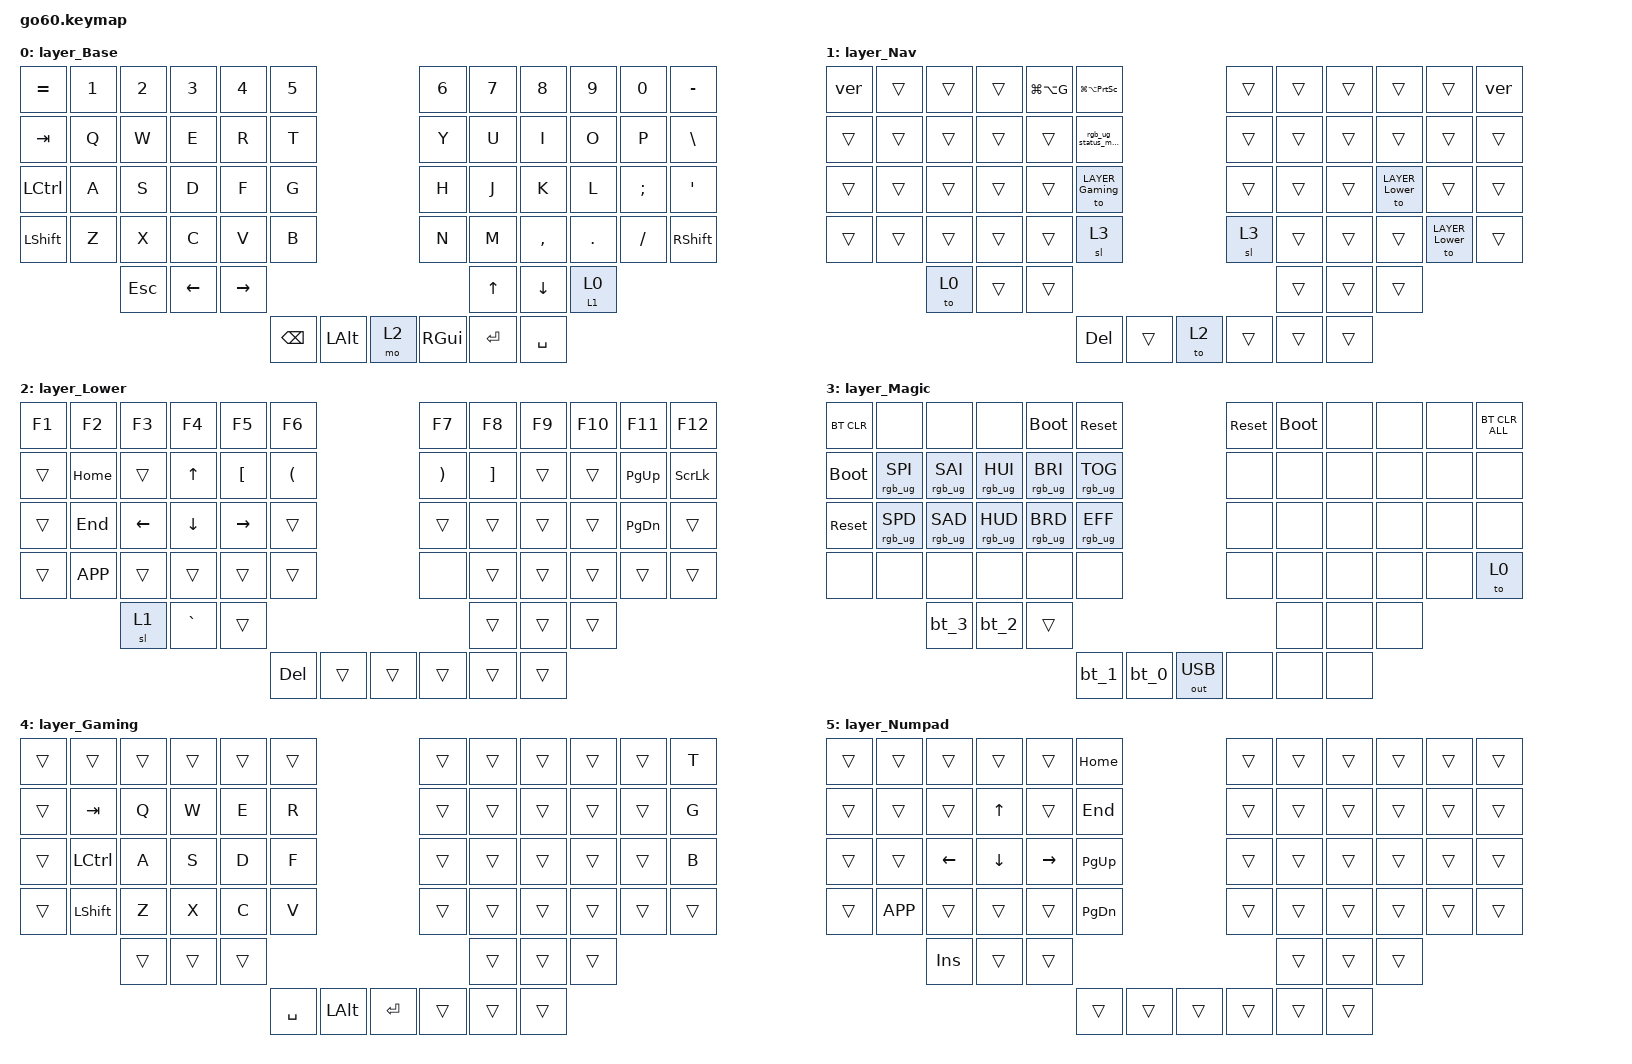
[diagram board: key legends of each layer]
#pragma once
/*
 * Copyright (c) 2020 The ZMK Contributors
 * Copyright (c) 2025 Innaworks Development Limited, trading as MoErgo
 *
 * SPDX-License-Identifier: MIT
 */


/* THIS FILE WAS GENERATED BY GO60 LAYOUT EDITOR
 *
 * This file was generated automatically. You may or may not want to
 * edit it directly.
 */

#include <behaviors.dtsi>

/* Include all behavior includes needed */

#include <dt-bindings/zmk/outputs.h>
#include <dt-bindings/zmk/keys.h>
#include <dt-bindings/zmk/bt.h>
#include <dt-bindings/zmk/rgb.h>

#include <input/processors.dtsi>
#include <dt-bindings/zmk/input_transform.h>
#include <zephyr/dt-bindings/input/input-event-codes.h>

/* On demand includes */
#include <dt-bindings/zmk/input_transform.h>
#include <dt-bindings/zmk/pointing.h>
#include <input/processors.dtsi>

#define YEAR_KEYS(y1, y2) &kp N2 &kp N0 &kp N##y1 &kp N##y2
#define MON_KEYS(m1, m2, m3) &kp m1 &kp m2 &kp m3
#define VER_KEYS(n1, n2) &kp N##n1 &kp N##n2

#define MYEAR YEAR_KEYS(2,6)
#define MMON MON_KEYS(F,E,B)
#define MVER VER_KEYS(0,5)

/* On demand includes */

/* Automatically generated layer name defines */
#define LAYER_Base 0
#define LAYER_Nav 1
#define LAYER_Lower 2
#define LAYER_Magic 3
#define LAYER_Gaming 4
#define LAYER_Numpad 5
#define LAYER_Dual 6

/* To deal with the situation where there is no Lower layer, to keep &lower happy */
#ifndef LAYER_Lower
#define LAYER_Lower 0
#endif

/* Generated input processors */
/ {
    input_processors {
        zip_click_to_right_click_mapper: zip_click_to_right_click_mapper {
            compatible = "zmk,input-processor-code-mapper";
            #input-processor-cells = <0>;
            type = <INPUT_EV_KEY>;
            map = <INPUT_BTN_0 INPUT_BTN_1>;
        };
    };
};

/* Custom Device-tree */


/* Input Listeners */
&cirque_lh_listener {
    input-processors = <&zip_xy_to_scroll_mapper>, <&zip_click_to_right_click_mapper>, <&zip_scroll_scaler 1 8>;
};

&cirque_rh_listener {
    input-processors = <&zip_xy_scaler 3 1>;
};


/* System behavior and macros */
/ {
    behaviors {
        // For the "layer" key, it'd nice to be able to use it as either a shift or a toggle.
        // Configure it as a tap dance, so the first tap (or hold) is a &mo and the second tap is a &to
        lower: lower {
            compatible = "zmk,behavior-tap-dance";
            label = "LAYER_TAP_DANCE";
            #binding-cells = <0>;
            tapping-term-ms = <200>;
            bindings = <&mo LAYER_Lower>, <&to LAYER_Lower>;
        };
    };
};

/ {
    macros {
        rgb_ug_status_macro: rgb_ug_status_macro {
            label = "RGB_UG_STATUS";
            compatible = "zmk,behavior-macro";
            #binding-cells = <0>;
            bindings
                = <&rgb_ug RGB_STATUS>;
        };
        gb_screenshot_macro: gb_screenshot_macro {
            label = "GAMEBAR_SCREENSHOT";
            compatible = "zmk,behavior-macro";
            #binding-cells = <0>;
            bindings
                = <&macro_press &kp LGUI &kp LALT>
                , <&macro_tap &kp PRINTSCREEN>
                , <&macro_release &kp LGUI &kp LALT>
                ;
        };
        gb_clipm_macro: gb_clip_macro {
            label = "GAMEBAR_SCREENSHOT";
            compatible = "zmk,behavior-macro";
            #binding-cells = <0>;
            bindings
                = <&macro_press &kp LGUI &kp LALT>
                , <&macro_tap &kp G>
                , <&macro_release &kp LGUI &kp LALT>
                ;
        };
    };
};

#define rgbstat &rgb_ug_status_macro
#define gb_clip &kp LG(LA(G))
#define gb_screenshot &kp LG(LA(PRINTSCREEN))


/ {
#ifdef BT_DISC_CMD
    behaviors {
        bt_0: bt_0 {
            compatible = "zmk,behavior-tap-dance";
            label = "BT_0";
            #binding-cells = <0>;
            tapping-term-ms = <200>;
            bindings = <&bt_select_0>, <&bt BT_DISC 0>;
        };
        bt_1: bt_1 {
            compatible = "zmk,behavior-tap-dance";
            label = "BT_1";
            #binding-cells = <0>;
            tapping-term-ms = <200>;
            bindings = <&bt_select_1>, <&bt BT_DISC 1>;
        };
        bt_2: bt_2 {
            compatible = "zmk,behavior-tap-dance";
            label = "BT_2";
            #binding-cells = <0>;
            tapping-term-ms = <200>;
            bindings = <&bt_select_2>, <&bt BT_DISC 2>;
        };
        bt_3: bt_3 {
            compatible = "zmk,behavior-tap-dance";
            label = "BT_3";
            #binding-cells = <0>;
            tapping-term-ms = <200>;
            bindings = <&bt_select_3>, <&bt BT_DISC 3>;
        };
    };
    macros {
        bt_select_0: bt_select_0 {
            label = "BT_SELECT_0";
            compatible = "zmk,behavior-macro";
            #binding-cells = <0>;
            bindings
                = <&out OUT_BLE>,
                  <&bt BT_SEL 0>;
        };
        bt_select_1: bt_select_1 {
            label = "BT_SELECT_1";
            compatible = "zmk,behavior-macro";
            #binding-cells = <0>;
            bindings
                = <&out OUT_BLE>,
                  <&bt BT_SEL 1>;
        };
        bt_select_2: bt_select_2 {
            label = "BT_SELECT_2";
            compatible = "zmk,behavior-macro";
            #binding-cells = <0>;
            bindings
                = <&out OUT_BLE>,
                  <&bt BT_SEL 2>;
        };
        bt_select_3: bt_select_3 {
            label = "BT_SELECT_3";
            compatible = "zmk,behavior-macro";
            #binding-cells = <0>;
            bindings
                = <&out OUT_BLE>,
                  <&bt BT_SEL 3>;
        };
    };
#else
    macros {
        bt_0: bt_0 {
            label = "BT_0";
            compatible = "zmk,behavior-macro";
            #binding-cells = <0>;
            bindings
                = <&out OUT_BLE>,
                  <&bt BT_SEL 0>;
        };
        bt_1: bt_1 {
            label = "BT_1";
            compatible = "zmk,behavior-macro";
            #binding-cells = <0>;
            bindings
                = <&out OUT_BLE>,
                  <&bt BT_SEL 1>;
        };
        bt_2: bt_2 {
            label = "BT_2";
            compatible = "zmk,behavior-macro";
            #binding-cells = <0>;
            bindings
                = <&out OUT_BLE>,
                  <&bt BT_SEL 2>;
        };
        bt_3: bt_3 {
            label = "BT_3";
            compatible = "zmk,behavior-macro";
            #binding-cells = <0>;
            bindings
                = <&out OUT_BLE>,
                  <&bt BT_SEL 3>;
        };
    };
#endif
};

/ {
    behaviors {
        magic: magic {
            compatible = "zmk,behavior-hold-tap";
            label = "MAGIC_HOLD_TAP";
            #binding-cells = <2>;
            flavor = "tap-preferred";
            tapping-term-ms = <200>;
            bindings = <&mo>, <&rgb_ug_status_macro>;
        };
    };
};

/* #define for key positions */
#define POS_LH_C6R1 0
#define POS_LH_C5R1 1
#define POS_LH_C4R1 2
#define POS_LH_C3R1 3
#define POS_LH_C2R1 4
#define POS_LH_C1R1 5
#define POS_RH_C1R1 6
#define POS_RH_C2R1 7
#define POS_RH_C3R1 8
#define POS_RH_C4R1 9
#define POS_RH_C5R1 10
#define POS_RH_C6R1 11
#define POS_LH_C6R2 12
#define POS_LH_C5R2 13
#define POS_LH_C4R2 14
#define POS_LH_C3R2 15
#define POS_LH_C2R2 16
#define POS_LH_C1R2 17
#define POS_RH_C1R2 18
#define POS_RH_C2R2 19
#define POS_RH_C3R2 20
#define POS_RH_C4R2 21
#define POS_RH_C5R2 22
#define POS_RH_C6R2 23
#define POS_LH_C6R3 24
#define POS_LH_C5R3 25
#define POS_LH_C4R3 26
#define POS_LH_C3R3 27
#define POS_LH_C2R3 28
#define POS_LH_C1R3 29
#define POS_RH_C1R3 30
#define POS_RH_C2R3 31
#define POS_RH_C3R3 32
#define POS_RH_C4R3 33
#define POS_RH_C5R3 34
#define POS_RH_C6R3 35
#define POS_LH_C6R4 36
#define POS_LH_C5R4 37
#define POS_LH_C4R4 38
#define POS_LH_C3R4 39
#define POS_LH_C2R4 40
#define POS_LH_C1R4 41
#define POS_RH_C1R4 42
#define POS_RH_C2R4 43
#define POS_RH_C3R4 44
#define POS_RH_C4R4 45
#define POS_RH_C5R4 46
#define POS_RH_C6R4 47
#define POS_LH_C4R5 48
#define POS_LH_C3R5 49
#define POS_LH_C2R5 50
#define POS_RH_C2R5 51
#define POS_RH_C3R5 52
#define POS_RH_C4R5 53
#define POS_LH_T1 54
#define POS_LH_T2 55
#define POS_LH_T3 56
#define POS_RH_T3 57
#define POS_RH_T2 58
#define POS_RH_T1 59

/* Custom Defined Behaviors */
/ {
    behaviors {
      nav: behavior_nav {
            compatible = "zmk,behavior-hold-tap";
            label = "NAV_HOLD_TAP";
            #binding-cells = <2>;
            flavor = "tap-preferred";
            tapping-term-ms = <200>;
            bindings = <&mo>, <&to>;
        };
      ver: behavior_version {
            compatible = "zmk,behavior-macro";
            #binding-cells = <0>;
            bindings = <&kp N &kp D &kp MINUS MYEAR &kp MINUS MMON &kp MINUS MVER>;
        };
    };
};

/* Automatically generated macro definitions */
/ {
    macros {

    };
};

/* Automatically generated behavior definitions */
/ {
    behaviors {


    };
};

/* Automatically generated combos definitions */


/* Automatically generated keymap */
/ {
    keymap {
        compatible = "zmk,keymap";


        layer_Base {
            bindings = <
 &kp EQUAL  &kp N1   &kp N2    &kp N3     &kp N4      &kp N5                                              &kp N6      &kp N7     &kp N8         &kp N9     &kp N0     &kp MINUS
 &kp TAB    &kp Q    &kp W     &kp E      &kp R       &kp T                                               &kp Y       &kp U      &kp I          &kp O      &kp P      &kp BSLH
 &kp LCTRL  &kp A    &kp S     &kp D      &kp F       &kp G                                               &kp H       &kp J      &kp K          &kp L      &kp SEMI   &kp SQT
 &kp LSHFT  &kp Z    &kp X     &kp C      &kp V       &kp B                                               &kp N       &kp M      &kp COMMA      &kp DOT    &kp FSLH   &kp RSHFT
                     &kp ESC   &kp LEFT   &kp RIGHT                                                                   &kp UP     &kp DOWN       &nav 1 0
                                                      &kp BSPC  &kp LALT  &mo 2        &kp RGUI  &kp RET  &kp SPACE
            >;
        };

        layer_Nav {
            bindings = <
 &ver    &trans  &trans  &trans  gb_clip   gb_screenshot                                       &trans    &trans  &trans    &trans            &trans           &ver
 &trans  &trans  &trans  &trans  &trans    rgbstat                                             &trans    &trans  &trans    &trans            &trans           &trans
 &trans  &trans  &trans  &trans  &trans    &to LAYER_Gaming                                    &trans    &trans  &trans    &to LAYER_Lower   &trans           &trans
 &trans  &trans  &trans  &trans  &trans    &sl 3                                               &sl 3     &trans  &trans    &trans            &to LAYER_Lower  &trans
                 &to 0   &trans  &trans                                                                  &trans  &trans    &trans
                                           &kp DEL           &trans  &to 2   &trans  &trans    &trans
            >;
        };

        layer_Lower {
            bindings = <
 &kp F1   &kp F2     &kp F3   &kp F4     &kp F5     &kp F6                                       &kp F7        &kp F8     &kp F9     &kp F10     &kp F11    &kp F12
 &trans   &kp HOME   &trans   &kp UP     &kp LBKT   &kp LPAR                                     &kp RPAR      &kp RBKT   &trans     &trans      &kp PG_UP  &kp SCROLLLOCK
 &trans   &kp END    &kp LEFT &kp DOWN   &kp RIGHT  &trans                                       &trans        &trans     &trans     &trans      &kp PG_DN  &trans
 &trans   &kp K_APP  &trans   &trans     &trans  &trans                                          &none         &trans     &trans     &trans      &trans     &trans
                     &sl 1    &kp GRAVE  &trans                                                                &trans     &trans     &trans
                                                    &kp DEL    &trans  &trans  &trans  &trans   &trans
            >;
        };

        layer_Magic {
            bindings = <
  &bt BT_CLR            &none            &none            &none      &bootloader       &sys_reset                                                        &sys_reset  &bootloader   &none   &none   &none  &bt BT_CLR_ALL
 &bootloader  &rgb_ug RGB_SPI  &rgb_ug RGB_SAI  &rgb_ug RGB_HUI  &rgb_ug RGB_BRI  &rgb_ug RGB_TOG                                                             &none        &none   &none   &none   &none           &none
  &sys_reset  &rgb_ug RGB_SPD  &rgb_ug RGB_SAD  &rgb_ug RGB_HUD  &rgb_ug RGB_BRD  &rgb_ug RGB_EFF                                                             &none        &none   &none   &none   &none           &none
       &none            &none            &none            &none            &none            &none                                                             &none        &none   &none   &none   &none           &to 0
                                         &bt_3            &bt_2            &trans                                                                                          &none   &none   &none
                                                                                                    &bt_1   &bt_0  &out OUT_USB   &none   &none   &none
            >;
        };

        layer_Gaming {
            bindings = <
 &trans     &trans  &trans  &trans  &trans  &trans                                                     &trans  &trans  &trans  &trans  &trans  &kp T
 &trans    &kp TAB   &kp Q   &kp W   &kp E   &kp R                                                     &trans  &trans  &trans  &trans  &trans  &kp G
 &trans  &kp LCTRL   &kp A   &kp S   &kp D   &kp F                                                     &trans  &trans  &trans  &trans  &trans  &kp B
 &trans  &kp LSHFT   &kp Z   &kp X   &kp C   &kp V                                                     &trans  &trans  &trans  &trans  &trans  &trans
                    &trans  &trans  &trans                                                                     &trans  &trans  &trans
                                                    &kp SPACE  &kp LALT   &kp RET      &trans  &trans  &trans
            >;
        };

       layer_Numpad {
            bindings = <
 &trans  &trans    &trans    &trans    &trans     &kp HOME                                    &trans  &trans  &trans  &trans   &trans  &trans
 &trans  &trans    &trans    &kp UP    &trans     &kp END                                     &trans  &trans  &trans  &trans   &trans  &trans
 &trans  &trans    &kp LEFT  &kp DOWN  &kp RIGHT  &kp PG_UP                                   &trans  &trans  &trans  &trans   &trans  &trans
 &trans  &kp K_APP &trans    &trans    &trans     &kp PG_DN                                   &trans  &trans  &trans  &trans   &trans  &trans
                   &kp INS   &trans    &trans                                                         &trans  &trans  &trans
                                                &trans      &trans  &trans  &trans  &trans    &trans
            >;
        };

/*
        layer_Blank {
            bindings = <
 &trans  &trans  &trans  &trans  &trans  &trans                                    &trans  &trans  &trans  &trans   &trans  &trans
 &trans  &trans  &trans  &trans  &trans  &trans                                    &trans  &trans  &trans  &trans   &trans  &trans
 &trans  &trans  &trans  &trans  &trans  &trans                                    &trans  &trans  &trans  &trans   &trans  &trans
 &trans  &trans  &trans  &trans  &trans  &trans                                    &trans  &trans  &trans  &trans   &trans  &trans
                 &trans  &trans  &trans                                                    &trans  &trans  &trans
                                         &trans  &trans  &trans  &trans  &trans    &trans
            >;
        };
*/
    };
};
